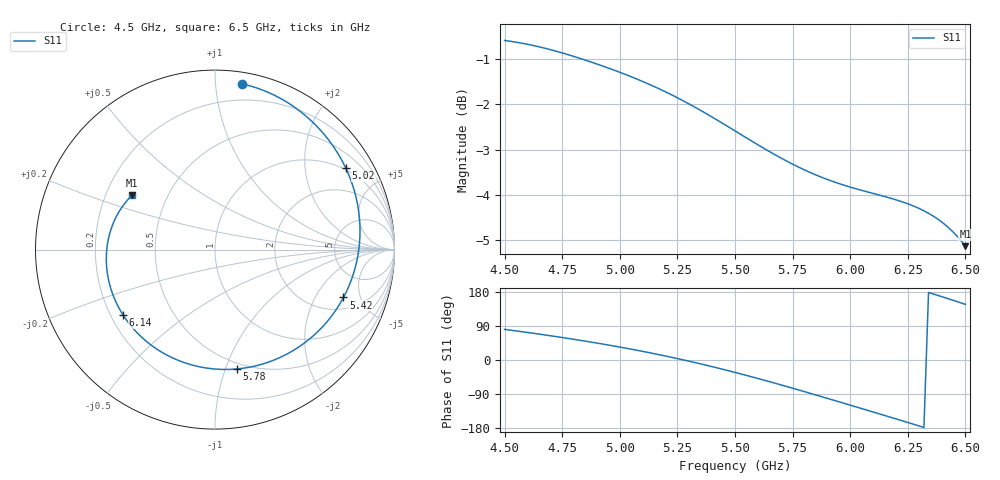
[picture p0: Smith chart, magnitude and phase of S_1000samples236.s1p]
! TOUCHSTONE file generated by CST MICROWAVE STUDIO
! Date and time: Thu Oct 27 11:37:29 2022
! Project name: L.cst
! Parameters = {Di=1.27; Epsilon_r=1.56; InnerDiameter=1.27; Length=2; Lf=10; Lg=60; OuterConductorThickness=0.2921; OuterDiameter=3.6; Wf=3; Wp=41.2; de=1.5; df=6.8; g=0.8; gx=2.12895; gy=2.31668; h=2.34; hf=1.524; px=9.7427; py=11.996; w=9.7; wx=7.61376; wy=9.6793}
! Header version: 2018
! Port assignment regex: !\s*Touchstone port\s*([0-9]+)\s*=\s*(CST MWS port|CST DS port)\s*([0-9]+|Zmin|Zmax)\s*\(\"(.*)\"\)(\s*mode\s*([0-9]+))?.*
! Touchstone port assignment:
! Touchstone port 1 = CST MWS port 1 ("")
# GHz S DB R 50
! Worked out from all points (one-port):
!   101 points, 4.5 GHz to 6.5 GHz, reference 50 ohm
!   lowest |S11| = -5.1 dB at 6.5 GHz (marker M1), VSWR 3.47, Z = 15.6 + j13.6 ohm
!   |S11| at or under -10 dB: nowhere
!   S11 on the Smith chart (normalised r, x): 4.5 GHz: 0.08, +1.17; 5.02 GHz: 0.94, +3.25; 5.42 GHz: 2.74, -3.51; 5.78 GHz: 0.45, -1.09; 6.14 GHz: 0.25, -0.30; 6.5 GHz: 0.31, +0.27
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4.5  -0.58 80.8
4.64  -0.71 69.2
4.76  -0.87 58.4
4.88  -1.07 46.8
5  -1.29 34.1
5.02  -1.32 31.9
5.14  -1.58 17.8
5.2  -1.72 10.3
5.26  -1.88 2.4
5.34  -2.10 -8.7
5.42  -2.34 -20.4
5.5  -2.59 -32.7
5.58  -2.84 -45.6
5.64  -3.02 -55.6
5.7  -3.19 -65.8
5.76  -3.35 -76.2
5.78  -3.40 -79.7
5.88  -3.62 -97.5
5.94  -3.74 -108.3
6  -3.83 -119.1
6.08  -3.95 -133.7
6.14  -4.03 -144.6
6.2  -4.12 -155.6
6.26  -4.23 -166.8
6.32  -4.36 -178.0
6.38  -4.55 170.5
6.44  -4.80 158.8
6.5  -5.15 146.8
